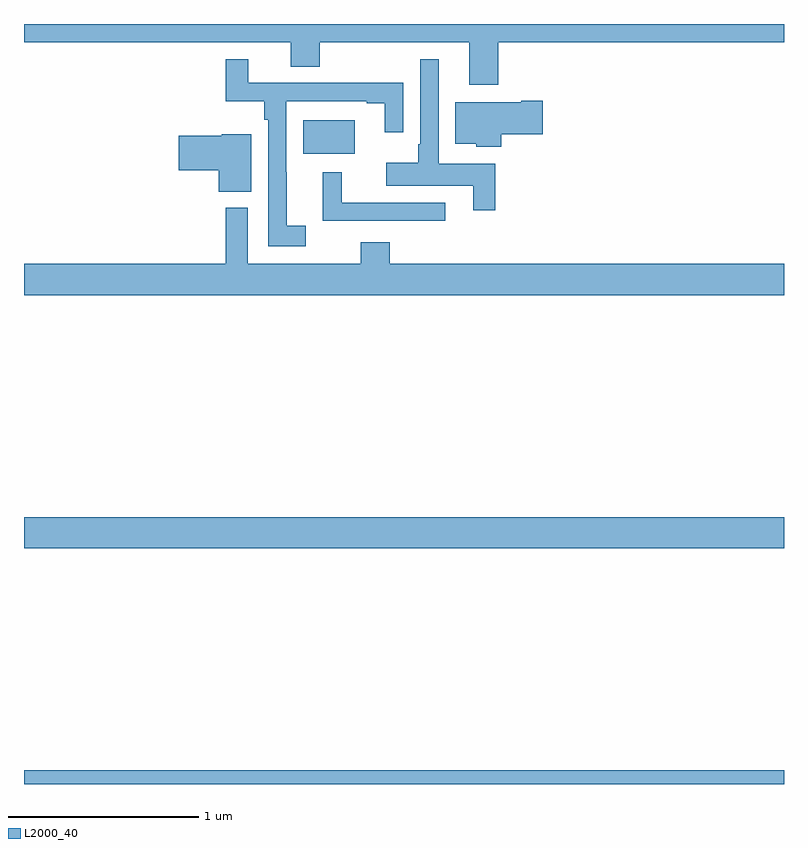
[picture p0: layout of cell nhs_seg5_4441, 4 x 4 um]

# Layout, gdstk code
import gdstk
lib = gdstk.Library(unit=1e-6, precision=1e-09)
def R(c, l, rs):  # rectangles x0, y0, x1, y1
    for r in rs: c.add(gdstk.rectangle(r[:2], r[2:], *l))
def P(c, l, *ps):  # polygons
    for p in ps: c.add(gdstk.Polygon(p, *l))
L2000_40 = (2000, 40)

nhs_seg5_4441 = lib.new_cell('nhs_seg5_4441')
R(nhs_seg5_4441, L2000_40, [(371,908.799,375,908.872), (371,910.04,375,910.204), (372.47,912.116,372.742,912.292)])
P(nhs_seg5_4441, L2000_40, [(373.496,912.704),(375,912.704),(375,912.799),(371,912.799),(371,912.704),(372.404,912.704),(372.404,912.574),(372.557,912.574),(372.557,912.704),(373.343,912.704),(373.343,912.48),(373.496,912.48)],
  [(373.481,912.064),(373.182,912.064),(373.182,912.613),(373.086,912.613),(373.086,912.166),(373.074,912.166),(373.074,912.07),(372.906,912.07),(372.906,911.948),(373.364,911.948),(373.364,911.82),(373.481,911.82)],
  [(372.484,911.737),(372.383,911.737),(372.383,912.02),(372.381,912.02),(372.381,912.393),(372.803,912.393),(372.803,912.381),(372.899,912.381),(372.899,912.228),(372.996,912.228),(372.996,912.491),(372.64,912.491),(372.64,912.489),(372.378,912.489),(372.378,912.491),(372.18,912.491),(372.18,912.613),(372.061,912.613),(372.061,912.392),(372.265,912.392),(372.265,912.296),(372.285,912.296),(372.285,911.628),(372.484,911.628)],
  [(373.511,912.218),(373.729,912.218),(373.729,912.396),(373.616,912.396),(373.616,912.388),(373.271,912.388),(373.271,912.17),(373.38,912.17),(373.38,912.152),(373.511,912.152)],
  [(372.196,912.22),(372.042,912.22),(372.042,912.212),(371.814,912.212),(371.814,912.029),(372.026,912.029),(372.026,911.917),(372.196,911.917)],
  [(373.216,911.859),(372.672,911.859),(372.672,912.019),(372.572,912.019),(372.572,911.763),(373.216,911.763)],
  [(375,911.536),(372.926,911.536),(372.926,911.65),(372.773,911.65),(372.773,911.536),(372.177,911.536),(372.177,911.832),(372.061,911.832),(372.061,911.536),(371,911.536),(371,911.372),(375,911.372)])

lib.write_gds('nhs_seg5_4441.gds')
